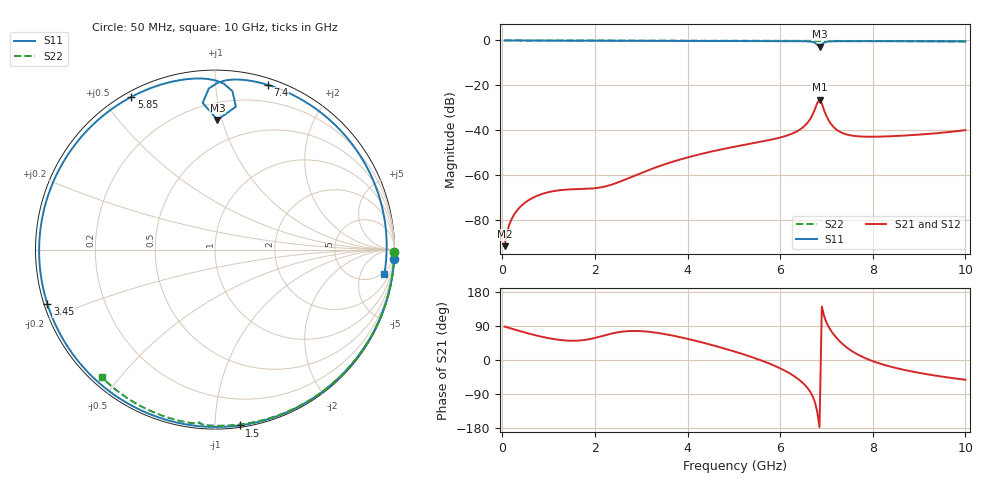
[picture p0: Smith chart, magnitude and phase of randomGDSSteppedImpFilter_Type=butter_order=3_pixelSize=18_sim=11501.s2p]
! freq	dB(S11)	phase(S11)	dB(S12)	phase(S12)
!  dB(S21)	phase(S21)	dB(S22)	phase(S22)
!S-par simulation data
#  GHz  S  DB  R 50
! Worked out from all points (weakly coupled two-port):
!   200 points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, 50 MHz to 10 GHz, reference 50 ohm
!   highest |S21| = -26.29 dB at 6.85 GHz (marker M1); lowest = -91.5 dB at 50 MHz (marker M2)
!   lowest |S11| = -2.8 dB at 6.85 GHz (marker M3), VSWR 6.22, Z = 16 + j48.3 ohm
!   |S11| at or under -10 dB: nowhere
!   |S22| runs from -0.4 to 0.0 dB; largest |S21 - S12| = 0
!   S11 on the Smith chart (normalised r, x): 50 MHz: 0, -39; 1.5 GHz: 0.01, -1.15; 3.45 GHz: 0.01, -0.16; 5.85 GHz: 0.02, +0.59; 7.4 GHz: 0.05, +1.37; 10 GHz: 4, -12
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0.05  -0.00 -2.9  -91.54 88.2  -91.54 88.2  -0.00 -0.8
0.2  -0.02 -11.7  -79.57 82.7  -79.57 82.7  -0.00 -3.0
0.4  -0.04 -23.2  -73.79 75.6  -73.79 75.6  -0.01 -6.1
0.7  -0.05 -40.1  -69.59 65.8  -69.59 65.8  -0.01 -10.6
1.5  -0.09 -82.0  -66.25 50.8  -66.25 50.8  -0.03 -22.5
1.75  -0.11 -93.8  -66.10 52.5  -66.10 52.5  -0.03 -26.2
2.6  -0.14 -130.3  -62.34 74.9  -62.34 74.9  -0.05 -38.6
3.4  -0.16 -160.2  -55.86 70.6  -55.86 70.6  -0.07 -50.0
3.45  -0.16 -162.0  -55.51 69.6  -55.51 69.6  -0.07 -50.7
4.2  -0.18 172.4  -50.98 49.9  -50.98 49.9  -0.09 -61.0
5.05  -0.22 144.6  -47.15 21.0  -47.15 21.0  -0.11 -72.3
5.85  -0.26 118.7  -43.94 -13.7  -43.94 -13.7  -0.14 -82.7
6.4  -0.33 100.0  -40.00 -51.2  -40.00 -51.2  -0.17 -89.6
6.7  -0.68 86.8  -33.05 -95.1  -33.05 -95.1  -0.19 -93.5
6.8  -1.89 81.7  -27.87 -136.2  -27.87 -136.2  -0.25 -94.9
6.85  -2.82 88.9  -26.29 -177.4  -26.29 -177.4  -0.30 -95.2
6.9  -1.72 94.8  -28.11 141.4  -28.11 141.4  -0.28 -95.4
7.1  -0.42 83.8  -37.21 77.0  -37.21 77.0  -0.22 -97.9
7.4  -0.32 72.2  -41.62 36.8  -41.62 36.8  -0.23 -101.6
8.35  -0.32 40.9  -42.66 -16.4  -42.66 -16.4  -0.29 -112.8
9.15  -0.35 16.3  -41.67 -37.1  -41.67 -37.1  -0.36 -122.0
10  -0.42 -8.3  -39.89 -52.1  -39.89 -52.1  -0.45 -131.6
